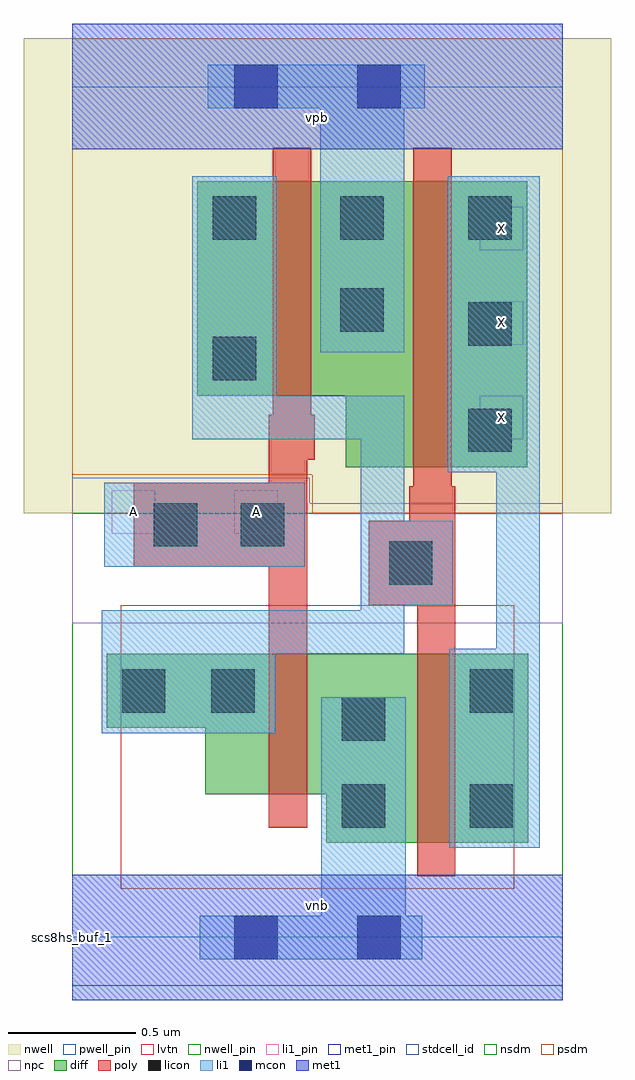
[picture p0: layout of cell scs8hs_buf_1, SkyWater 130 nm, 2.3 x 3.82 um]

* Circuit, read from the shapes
.subckt scs8hs_buf_1 A X vgnd vnb vpb vpwr
XM1 vgnd A n1 vnb sky130_fd_pr__nfet_01v8_lvt w=0.55 l=0.15
XM2 X n1 vgnd vnb sky130_fd_pr__nfet_01v8_lvt w=0.74 l=0.15
XM3 vpwr A n1 vpb sky130_fd_pr__pfet_01v8 w=0.84 l=0.15
XM4 X n1 vpwr vpb sky130_fd_pr__pfet_01v8 w=1.12 l=0.15
.ends

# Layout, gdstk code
import gdstk
lib = gdstk.Library(unit=1e-6, precision=1e-09)
def R(c, l, rs):  # rectangles x0, y0, x1, y1
    for r in rs: c.add(gdstk.rectangle(r[:2], r[2:], *l))
def A(c, l, x, y, w, h, nx, ny, dx, dy):  # array of equal rectangles
    R(c, l, [(x+i*dx, y+j*dy, x+i*dx+w, y+j*dy+h) for i in range(nx) for j in range(ny)])
def P(c, l, *ps):  # polygons
    for p in ps: c.add(gdstk.Polygon(p, *l))
nwell_pin = (64, 16)
nwell = (64, 20)
diff = (65, 20)
poly = (66, 20)
licon = (66, 44)
li1_pin = (67, 16)
li1 = (67, 20)
mcon = (67, 44)
met1_pin = (68, 16)
met1 = (68, 20)
stdcell_id = (81, 4)
nsdm = (93, 44)
psdm = (94, 20)
npc = (95, 20)
pwell_pin = (122, 16)
lvtn = (125, 44)

scs8hs_buf_1 = lib.new_cell('scs8hs_buf_1')
R(scs8hs_buf_1, nwell_pin, [(0,3.085,1.92,3.33)])
R(scs8hs_buf_1, nwell, [(-0.19,1.66,2.11,3.52)])
P(scs8hs_buf_1, diff, [(1.07,1.84),(1.07,2.12),(0.49,2.12),(0.49,2.96),(1.78,2.96),(1.78,1.84)],
  [(0.995,0.37),(0.995,0.56),(0.52,0.56),(0.52,0.82),(0.135,0.82),(0.135,1.11),(1.785,1.11),(1.785,0.37)])
P(scs8hs_buf_1, poly, [(1.35,0.24),(1.35,1.3),(1.16,1.3),(1.16,1.63),(1.32,1.63),(1.32,1.765),(1.335,1.765),(1.335,3.09),(1.485,3.09),(1.485,1.765),(1.5,1.765),(1.5,0.24)],
  [(0.77,0.43),(0.77,1.45),(0.24,1.45),(0.24,1.78),(0.77,1.78),(0.77,2.045),(0.785,2.045),(0.785,3.09),(0.935,3.09),(0.935,2.045),(0.95,2.045),(0.95,1.87),(0.92,1.87),(0.92,0.43)])
A(scs8hs_buf_1, licon, 0.55, 2.73, 0.17, 0.17, 3, 1, 0.5, 0)
R(scs8hs_buf_1, licon, [(1.055,0.43,1.225,0.6), (1.555,0.43,1.725,0.6), (1.055,0.77,1.225,0.94), (0.195,0.88,0.365,1.05), (0.545,0.88,0.715,1.05), (1.555,0.88,1.725,1.05), (1.24,1.38,1.41,1.55), (0.32,1.53,0.49,1.7), (0.66,1.53,0.83,1.7), (1.55,1.9,1.72,2.07), (0.55,2.18,0.72,2.35), (1.55,2.315,1.72,2.485), (1.05,2.37,1.22,2.54)])
A(scs8hs_buf_1, li1_pin, 1.595, 1.95, 0.17, 0.17, 1, 3, 0, 0.37)
R(scs8hs_buf_1, li1_pin, [(0.155,1.58,0.325,1.75), (0.635,1.58,0.805,1.75)])
R(scs8hs_buf_1, li1, [(0.125,1.45,0.91,1.78)])
P(scs8hs_buf_1, li1, [(0.5,-0.085),(0.5,0.085),(0.975,0.085),(0.975,0.94),(1.305,0.94),(1.305,0.085),(1.37,0.085),(1.37,-0.085)],
  [(0.97,2.29),(0.97,3.245),(0.53,3.245),(0.53,3.415),(1.38,3.415),(1.38,3.245),(1.3,3.245),(1.3,2.29)],
  [(0.115,0.8),(0.115,1.28),(1.13,1.28),(1.13,1.95),(0.47,1.95),(0.47,2.98),(0.8,2.98),(0.8,2.12),(1.3,2.12),(1.3,1.63),(1.49,1.63),(1.49,1.3),(1.3,1.3),(1.3,1.11),(0.795,1.11),(0.795,0.8)],
  [(1.475,0.35),(1.475,1.13),(1.66,1.13),(1.66,1.82),(1.47,1.82),(1.47,2.98),(1.83,2.98),(1.83,0.35)])
R(scs8hs_buf_1, mcon, [(0.635,-0.085,0.805,0.085), (1.115,-0.085,1.285,0.085), (0.635,3.245,0.805,3.415), (1.115,3.245,1.285,3.415)])
R(scs8hs_buf_1, met1_pin, [(0,0,1.92,0.245), (0,3.085,1.92,3.33)])
R(scs8hs_buf_1, met1, [(0,-0.245,1.92,0.245), (0,3.085,1.92,3.575)])
R(scs8hs_buf_1, stdcell_id, [(0,0,1.92,3.33)])
R(scs8hs_buf_1, nsdm, [(0,-0.19,1.92,1.66)])
P(scs8hs_buf_1, psdm, [(0.94,1.66),(0.94,1.81),(0,1.81),(0,3.52),(1.92,3.52),(1.92,1.66)])
P(scs8hs_buf_1, npc, [(0,1.23),(0,1.8),(0.93,1.8),(0.93,1.7),(1.92,1.7),(1.92,1.23)])
R(scs8hs_buf_1, pwell_pin, [(0,0,1.92,0.245)])
R(scs8hs_buf_1, lvtn, [(0.19,0.19,1.73,1.3)])
scs8hs_buf_1.add(gdstk.Label('scs8hs_buf_1', (0,0), layer=83, texttype=44))
scs8hs_buf_1.add(gdstk.Label('vnb', (0.96,0.123), layer=64, texttype=59))
scs8hs_buf_1.add(gdstk.Label('vpb', (0.96,3.208), layer=64, texttype=5))
scs8hs_buf_1.add(gdstk.Label('vpwr', (0.96,3.208), layer=68, texttype=5))
scs8hs_buf_1.add(gdstk.Label('vgnd', (0.96,0.123), layer=68, texttype=5))
scs8hs_buf_1.add(gdstk.Label('A', (0.24,1.665), layer=67, texttype=5))
scs8hs_buf_1.add(gdstk.Label('A', (0.72,1.665), layer=67, texttype=5))
scs8hs_buf_1.add(gdstk.Label('X', (1.68,2.035), layer=67, texttype=5))
scs8hs_buf_1.add(gdstk.Label('X', (1.68,2.405), layer=67, texttype=5))
scs8hs_buf_1.add(gdstk.Label('X', (1.68,2.775), layer=67, texttype=5))

lib.write_gds('scs8hs_buf_1.gds')
